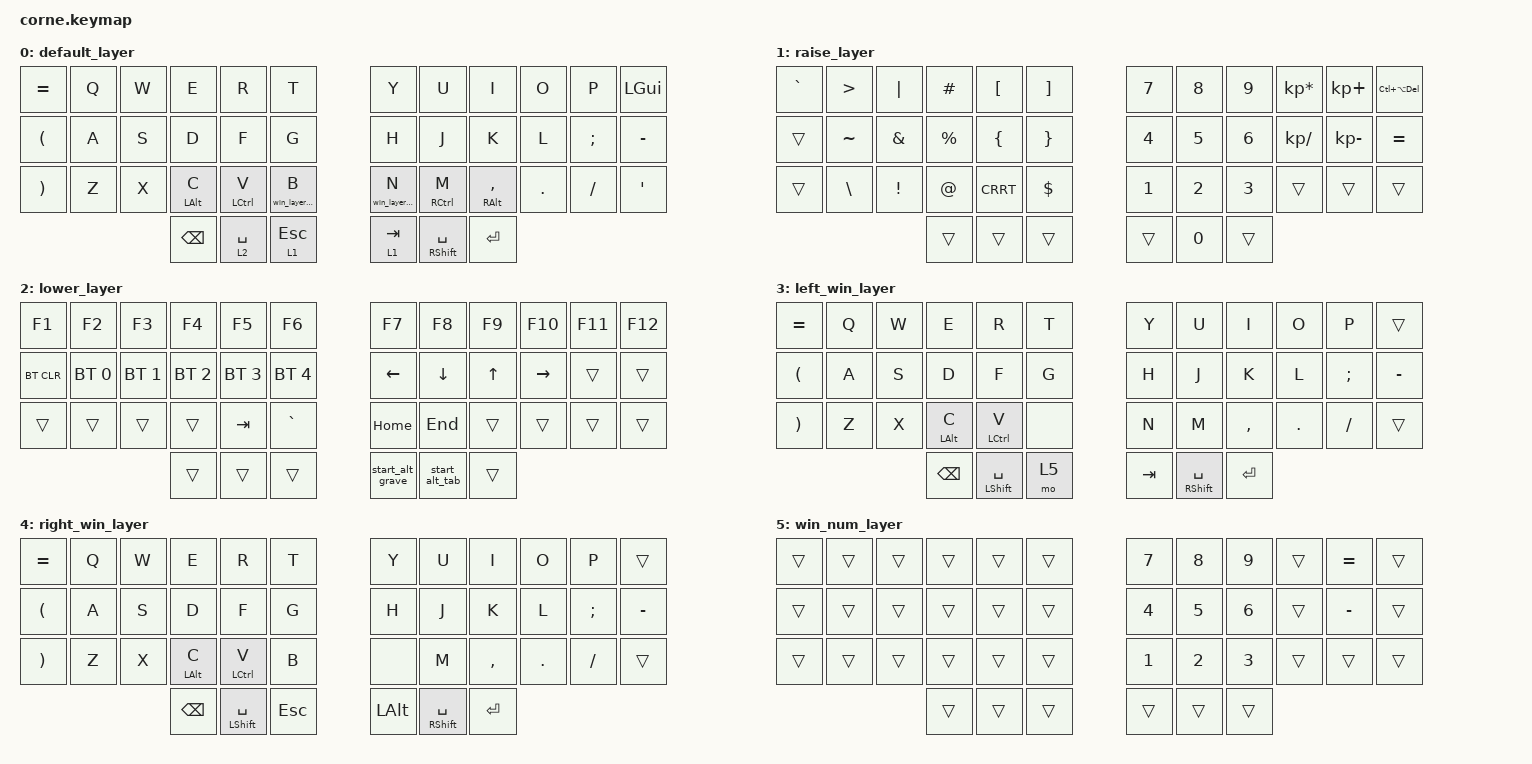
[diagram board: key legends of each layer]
/*
 * Copyright (c) 2020 The ZMK Contributors
 *
 * SPDX-License-Identifier: MIT
 */

#include <behaviors.dtsi>
#include <dt-bindings/zmk/keys.h>
#include <dt-bindings/zmk/bt.h>

&mt {
        tapping-term-ms = <150>;
        flavor = "tap-preferred";
};

&lt {
        tapping-term-ms = <150>;
        flavor = "tap-preferred";
};


/ {

        macros {
                start_alt_tab: start_alt_tab {
                        label = "START_ALT_TAB";
                        compatible = "zmk,behavior-macro";
                        #binding-cells = <0>;
                        bindings
                                = <&macro_press &kp LALT>
                                , <&macro_tap &kp TAB>
                                , <&macro_pause_for_release>
                                , <&macro_release &kp LALT>
                                ;
                };
                start_alt_grave: start_alt_grave {
                        label = "START_ALT_GRAVE";
                        compatible = "zmk,behavior-macro";
                        #binding-cells = <0>;
                        bindings
                                = <&macro_press &kp LALT>
                                , <&macro_tap &kp GRAVE>
                                , <&macro_pause_for_release>
                                , <&macro_release &kp LALT>
                                ;
                };
                win_layer_left: win_layer_left {
                        label = "WIN_LAYER_LEFT";
                        compatible = "zmk,behavior-macro-one-param";
                        #binding-cells = <1>;
                        bindings
                                = <&macro_press &kp LGUI &mo 3>
                                , <&macro_pause_for_release>
                                , <&macro_release &kp LGUI &mo 3>
                                ;
                };
                win_layer_right: win_layer_right {
                        label = "WIN_LAYER_RIGHT";
                        compatible = "zmk,behavior-macro-one-param";
                        #binding-cells = <1>;
                        bindings
                                = <&macro_press &kp LGUI &mo 4>
                                , <&macro_pause_for_release>
                                , <&macro_release &kp LGUI &mo 4>
                                ;
                };
                win_num_direct: win_num_direct {
                        label = "WIN_NUM_DIRECT";
                        compatible = "zmk,behavior-macro";
                        #binding-cells = <0>;
                        bindings
                                = <&macro_press &kp LGUI &mo 5>
                                , <&macro_pause_for_release>
                                , <&macro_release &kp LGUI &mo 5>
                                ;
                };
        };

        combos {
                compatible = "zmk,combos";
                combo_win_num {
                        timeout-ms = <50>;
                        key-positions = <29 38>;
                        bindings = <&win_num_direct>;
                };
        };

        behaviors {
                win_left: win_left {
                        compatible = "zmk,behavior-hold-tap";
                        label = "WIN_LEFT";
                        #binding-cells = <2>;
                        tapping-term-ms = <150>;
                        flavor = "balanced";
                        bindings = <&win_layer_left>, <&kp>;
                };
                win_right: win_right {
                        compatible = "zmk,behavior-hold-tap";
                        label = "WIN_RIGHT";
                        #binding-cells = <2>;
                        tapping-term-ms = <150>;
                        flavor = "balanced";
                        bindings = <&win_layer_right>, <&kp>;
                };
                mt_bal: mod_tap_balanced {
                        compatible = "zmk,behavior-hold-tap";
                        label = "MOD_TAP_BALANCED";
                        #binding-cells = <2>;
                        tapping-term-ms = <150>;
                        flavor = "balanced";
                        bindings = <&kp>, <&kp>;
                };
        };

        keymap {
                compatible = "zmk,keymap";

                default_layer {
// -----------------------------------------------------------------------------------------
// Default Layer
// |   =  |  Q  |  W  |  E  |  R  |  T  |   |  Y  |  U   |  I  |  O  |  P  | LGUI |
// |   (  |  A  |  S  |  D  |  F  |  G  |   |  H  |  J   |  K  |  L  |  ;  |  -   |
// |   )  |  Z  |  X  |ALT/C|CTL/V|WIN_B|   |WIN_N|CTL/M |ALT/,|  .  |  /  |  '   |
//                    |BSPC |L SPC|L ESC|   |L TAB|R SPC | RET |
// Thumb: L=Lower, L=Raise (layer-tap), R=Shift (mod-tap)
                        bindings = <
   &kp EQUAL  &kp Q  &kp W   &kp E       &kp R        &kp T          &kp Y        &kp U        &kp I           &kp O    &kp P     &kp LGUI
   &kp LPAR   &kp A  &kp S   &kp D       &kp F        &kp G          &kp H        &kp J        &kp K           &kp L    &kp SEMI  &kp MINUS
   &kp RPAR   &kp Z  &kp X   &mt LALT C  &mt LCTRL V  &win_left 0 B    &win_right 0 N  &mt RCTRL M  &mt RALT COMMA  &kp DOT  &kp FSLH  &kp SQT
                                &kp BSPC  &lt 2 SPACE  &lt 1 ESC    &lt 1 TAB  &mt RSHIFT SPACE  &kp RET
                        >;
                };
                
                raise_layer {
// -----------------------------------------------------------------------------------------
// Raise Layer - Symbols + Numpad
// |  `   |  >  |  |  |  #  |  [  |  ]  |   |  7  |  8  |  9  |  *  |  +  | C-A-DEL |
// |      |  ~  |  &  |  %  |  {  |  }  |   |  4  |  5  |  6  |  /  |  -  |  =   |
// |      |  \  |  !  |  @  |  ^  |  $  |   |  1  |  2  |  3  |     |     |      |
//                    |     |     |     |   |     |  0  |     |
                        bindings = <
   &kp GRAVE  &kp GT     &kp PIPE  &kp HASH   &kp LBKT  &kp RBKT    &kp N7  &kp N8  &kp N9  &kp KP_MULTIPLY  &kp KP_PLUS   &kp LC(LA(DEL))
   &trans     &kp TILDE  &kp AMPS  &kp PRCNT  &kp LBRC  &kp RBRC    &kp N4  &kp N5  &kp N6  &kp KP_DIVIDE    &kp KP_MINUS  &kp EQUAL
   &trans     &kp BSLH   &kp EXCL  &kp AT     &kp CRRT  &kp DLLR    &kp N1  &kp N2  &kp N3  &trans           &trans        &trans
                                          &trans  &trans  &trans    &trans  &kp N0  &trans
                        >;
                };
                lower_layer {
// -----------------------------------------------------------------------------------------
// Lower Layer - F-keys + Navigation + Bluetooth
// | F1   | F2  | F3  | F4  | F5  | F6  |   | F7  | F8  | F9  | F10 | F11 | F12  |
// |BT_CLR|BT 0 |BT 1 |BT 2 |BT 3 |BT 4 |   | LFT | DWN | UP  | RGT |     |      |
// |      |     |     |     | TAB |  `  |   |HOME | END |     |     |     |      |
//                    |     |     |     |   | A-` | A-TAB |   |
                        bindings = <
   &kp F1      &kp F2        &kp F3        &kp F4        &kp F5        &kp F6          &kp F7    &kp F8    &kp F9  &kp F10    &kp F11  &kp F12
   &bt BT_CLR  &bt BT_SEL 0  &bt BT_SEL 1  &bt BT_SEL 2  &bt BT_SEL 3  &bt BT_SEL 4    &kp LEFT  &kp DOWN  &kp UP  &kp RIGHT  &trans   &trans
   &trans      &trans        &trans        &trans        &kp TAB       &kp GRAVE       &kp HOME  &kp END   &trans  &trans     &trans   &trans
                                                            &trans  &trans  &trans    &start_alt_grave  &start_alt_tab  &trans
                        >;
                };

                left_win_layer {
// -----------------------------------------------------------------------------------------
// LEFT WIN Layer - Hold B to activate (macro holds LGUI)
// All letters accessible. Hold inner left thumb (mo 5) for numbers.
// SHIFT on middle left thumb. Use C for ALT, V for CTRL.
//                    | BSPC | SHIFT | NUM |   | TAB | SPACE | RET |
                        bindings = <
   &kp EQUAL  &kp Q  &kp W  &kp E       &kp R        &kp T    &kp Y  &kp U  &kp I      &kp O    &kp P     &trans
   &kp LPAR   &kp A  &kp S  &kp D       &kp F        &kp G    &kp H  &kp J  &kp K      &kp L    &kp SEMI  &kp MINUS
   &kp RPAR   &kp Z  &kp X  &mt LALT C  &mt LCTRL V  &none    &kp N  &kp M  &kp COMMA  &kp DOT  &kp FSLH  &trans
                                        &kp BSPC  &mt_bal LSHIFT SPACE  &mo 5    &kp TAB  &mt_bal RSHIFT SPACE  &kp RET
                        >;
                };

                right_win_layer {
// -----------------------------------------------------------------------------------------
// RIGHT WIN Layer - Hold N to activate (macro holds LGUI)
// Plain keys combine with held LGUI. SHIFT/ALT on right thumbs for same-hand combos.
// All letter keys accessible (including B). Use for SUPER+J/K and other letter combos.
//                    | BSPC | SPACE | ESC |   | ALT | SHIFT | RET |
                        bindings = <
   &kp EQUAL  &kp Q  &kp W  &kp E       &kp R        &kp T    &kp Y  &kp U  &kp I      &kp O    &kp P     &trans
   &kp LPAR   &kp A  &kp S  &kp D       &kp F        &kp G    &kp H  &kp J  &kp K      &kp L    &kp SEMI  &kp MINUS
   &kp RPAR   &kp Z  &kp X  &mt LALT C  &mt LCTRL V  &kp B    &none  &kp M  &kp COMMA  &kp DOT  &kp FSLH  &trans
                                        &kp BSPC  &mt_bal LSHIFT SPACE  &kp ESC    &kp LALT  &mt_bal RSHIFT SPACE  &kp RET
                        >;
                };

                win_num_layer {
// -----------------------------------------------------------------------------------------
// WIN Numbers Layer - Activated via combo (B + inner left thumb) or from left_win_layer
// Provides numbers for workspace switching while LGUI is held from win macro.
// Also has =/- for SUPER+=/- resize bindings (Hyprland)
// |      |     |     |     |     |     |   |  7  |  8  |  9  |     |  =  |      |
// |      |     |     |     |     |     |   |  4  |  5  |  6  |     |  -  |      |
// |      |     |     |     |     |     |   |  1  |  2  |  3  |     |     |      |
//                    |     |     |     |   |     |     |     |
                        bindings = <
   &trans  &trans  &trans  &trans  &trans  &trans    &kp N7  &kp N8  &kp N9  &trans  &kp EQUAL  &trans
   &trans  &trans  &trans  &trans  &trans  &trans    &kp N4  &kp N5  &kp N6  &trans  &kp MINUS  &trans
   &trans  &trans  &trans  &trans  &trans  &trans    &kp N1  &kp N2  &kp N3  &trans  &trans     &trans
                                   &trans  &trans  &trans    &trans  &trans  &trans
                        >;
                };

        };
};
